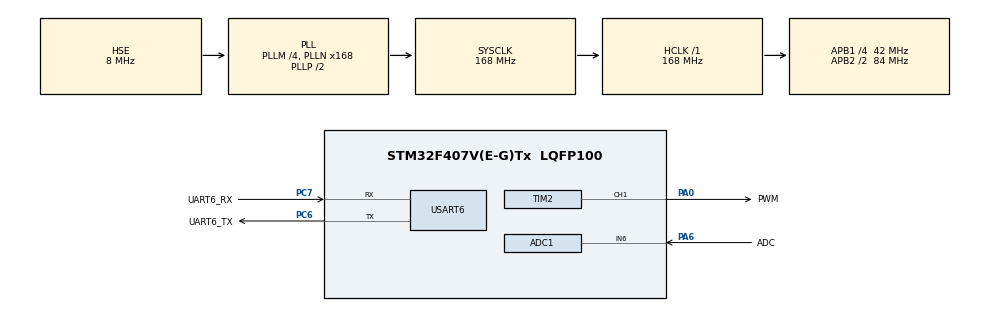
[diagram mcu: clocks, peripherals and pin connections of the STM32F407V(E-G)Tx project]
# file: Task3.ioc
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ADC1.Channel-0\#ChannelRegularConversion=ADC_CHANNEL_VREFINT
ADC1.NbrOfConversionFlag=1
ADC1.Rank-0\#ChannelRegularConversion=1
ADC1.SamplingTime-0\#ChannelRegularConversion=ADC_SAMPLETIME_3CYCLES
ADC1.master=1
Mcu.Family=STM32F4
Mcu.Name=STM32F407V(E-G)Tx
Mcu.Package=LQFP100
NVIC.ADC_IRQn=true\:2\:0\:true\:false\:true\:true\:true\:true
NVIC.PriorityGroup=NVIC_PRIORITYGROUP_2
NVIC.USART6_IRQn=true\:1\:1\:true\:false\:true\:true\:true\:true
PA0-WKUP.GPIO_Label=PWM
PA0-WKUP.GPIO_PuPd=GPIO_PULLDOWN
PA0-WKUP.GPIO_Speed=GPIO_SPEED_FREQ_HIGH
PA0-WKUP.Signal=S_TIM2_CH1_ETR
PA13.Mode=Serial_Wire
PA13.Signal=SYS_JTMS-SWDIO
PA14.Mode=Serial_Wire
PA14.Signal=SYS_JTCK-SWCLK
PA6.GPIO_Label=ADC
PA6.Signal=ADCx_IN6
PC14-OSC32_IN.Mode=LSE-External-Oscillator
PC14-OSC32_IN.Signal=RCC_OSC32_IN
PC15-OSC32_OUT.Mode=LSE-External-Oscillator
PC15-OSC32_OUT.Signal=RCC_OSC32_OUT
PC6.GPIO_Label=UART6_TX
PC6.GPIO_PuPd=GPIO_PULLUP
PC6.Mode=Asynchronous
PC6.Signal=USART6_TX
PC7.GPIO_Label=UART6_RX
PC7.GPIO_PuPd=GPIO_PULLUP
PC7.Mode=Asynchronous
PC7.Signal=USART6_RX
PH0-OSC_IN.Mode=HSE-External-Oscillator
PH0-OSC_IN.Signal=RCC_OSC_IN
PH1-OSC_OUT.Mode=HSE-External-Oscillator
PH1-OSC_OUT.Signal=RCC_OSC_OUT
ProjectManager.HeapSize=0x200
ProjectManager.StackSize=0x400
ProjectManager.TargetToolchain=MDK-ARM V5.32
RCC.48MHZClocksFreq_Value=84000000
RCC.AHBFreq_Value=168000000
RCC.APB1CLKDivider=RCC_HCLK_DIV4
RCC.APB1Freq_Value=42000000
RCC.APB1TimFreq_Value=84000000
RCC.APB2CLKDivider=RCC_HCLK_DIV2
RCC.APB2Freq_Value=84000000
RCC.APB2TimFreq_Value=168000000
RCC.CortexFreq_Value=168000000
RCC.EnbaleCSS=true
RCC.HCLKFreq_Value=168000000
RCC.HSE_VALUE=8000000
RCC.HSI_VALUE=16000000
RCC.PLLM=4
RCC.PLLN=168
RCC.PLLSourceVirtual=RCC_PLLSOURCE_HSE
RCC.SYSCLKFreq_VALUE=168000000
RCC.SYSCLKSource=RCC_SYSCLKSOURCE_PLLCLK
RCC.VCOOutputFreq_Value=336000000
SH.ADCx_IN6.0=ADC1_IN6,IN6
SH.S_TIM2_CH1_ETR.0=TIM2_CH1,PWM Generation1 CH1
TIM2.AutoReloadPreload=TIM_AUTORELOAD_PRELOAD_ENABLE
TIM2.Channel-PWM\ Generation1\ CH1=TIM_CHANNEL_1
TIM2.OCFastMode_PWM-PWM\ Generation1\ CH1=TIM_OCFAST_ENABLE
TIM2.OCPolarity_1=TIM_OCPOLARITY_HIGH
TIM2.Period=1000-1
TIM2.Prescaler=840-1
TIM2.Pulse-PWM\ Generation1\ CH1=500
TIM3.AutoReloadPreload=TIM_AUTORELOAD_PRELOAD_ENABLE
TIM3.Period=10000-1
TIM3.Prescaler=84-1
TIM3.TIM_MasterOutputTrigger=TIM_TRGO_UPDATE
TIM3.TIM_MasterSlaveMode=TIM_MASTERSLAVEMODE_ENABLE
USART6.VirtualMode=VM_ASYNC
VP_ADC1_Vref_Input.Mode=IN-Vrefint
VP_TIM2_VS_ClockSourceINT.Mode=Internal
VP_TIM3_VS_ClockSourceINT.Mode=Internal
board=custom

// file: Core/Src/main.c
/* USER CODE BEGIN Header */
/**
  ******************************************************************************
  * @file           : main.c
  * @brief          : Main program body
  ******************************************************************************
  * @attention
  *
  * Copyright (c) 2025 STMicroelectronics.
  * All rights reserved.
  *
  * This software is licensed under terms that can be found in the LICENSE file
  * in the root directory of this software component.
  * If no LICENSE file comes with this software, it is provided AS-IS.
  *
  ******************************************************************************
  */
/* USER CODE END Header */
#include "main.h"
#include "adc.h"
#include "tim.h"
#include "usart.h"
#include "gpio.h"

/* USER CODE BEGIN Includes */
#include "./delay/delay.h"
#include "./GUI_UART/GUI_UART.h"
#include "./PWM_Generate/PWM_Generate.h"
#include "./ADC1_Fire/ADC_Fire.h"
/* USER CODE END Includes */

/* USER CODE BEGIN PV */
extern uint8_t ADC_GetReady;
extern uint8_t Fire_State;   //0????????1??????

extern uint8_t adc_count;
extern uint8_t Resistance_Value;
extern uint8_t threshold_state;
extern uint8_t fire_threshold;
extern uint8_t Rx_buffer[9];
/* USER CODE END PV */

void SystemClock_Config(void);

int main(void)
{

  /* MCU Configuration--------------------------------------------------------*/

  /* Reset of all peripherals, Initializes the Flash interface and the Systick. */
  HAL_Init();

  /* Configure the system clock */
  SystemClock_Config();

  /* Initialize all configured peripherals */
  MX_GPIO_Init();
  MX_ADC1_Init();
  MX_TIM2_Init();
  MX_TIM3_Init();
  MX_USART6_UART_Init();
  /* USER CODE BEGIN 2 */
    Get_actual_voltage();
    Correct_PWM_Output(1);
    HAL_UART_Receive_IT(&huart6, Rx_buffer, 9);

    GUI_Correct_Fire_Threshold(fire_threshold);
    GUI_Correct_Fire_Sign(0);
    GUI_Correct_Resistance_Value(Resistance_Value);

    ADC_Fire_Start_init();
  /* USER CODE END 2 */

  /* Infinite loop */
  while (1)
  {

    /* USER CODE BEGIN 3 */
    if(threshold_state!=0)
    {
        if(threshold_state==1)
        {
            if(fire_threshold<10)
            {
                fire_threshold++;
                GUI_Correct_Fire_Threshold(fire_threshold);
            }
        }
        else if(threshold_state==2)
        {
            if(fire_threshold>1)
            {
                fire_threshold--;
                GUI_Correct_Fire_Threshold(fire_threshold);
            }
        }
        threshold_state=0;
    }

    if(ADC_GetReady==1)
    {
        ADC_GetReady=0;
        GUI_Correct_Resistance_Value(Resistance_Value);
    }

    if(adc_count==1)
    {
        adc_count=0;
        if(Fire_State==1)
        {
            GUI_Correct_Fire_Sign(1);
            GUI_Buzzer_10ms_per(0x0f);
        }
        else if(Fire_State==0)
        {
            GUI_Correct_Fire_Sign(0);
        }
    }
  }
  /* USER CODE END 3 */
}

void SystemClock_Config(void)
{
  RCC_OscInitTypeDef RCC_OscInitStruct = {0};
  RCC_ClkInitTypeDef RCC_ClkInitStruct = {0};

  /** Configure the main internal regulator output voltage
  */
  __HAL_RCC_PWR_CLK_ENABLE();
  __HAL_PWR_VOLTAGESCALING_CONFIG(PWR_REGULATOR_VOLTAGE_SCALE1);

  /** Initializes the RCC Oscillators according to the specified parameters
  * in the RCC_OscInitTypeDef structure.
  */
  RCC_OscInitStruct.OscillatorType = RCC_OSCILLATORTYPE_HSE;
  RCC_OscInitStruct.HSEState = RCC_HSE_ON;
  RCC_OscInitStruct.PLL.PLLState = RCC_PLL_ON;
  RCC_OscInitStruct.PLL.PLLSource = RCC_PLLSOURCE_HSE;
  RCC_OscInitStruct.PLL.PLLM = 4;
  RCC_OscInitStruct.PLL.PLLN = 168;
  RCC_OscInitStruct.PLL.PLLP = RCC_PLLP_DIV2;
  RCC_OscInitStruct.PLL.PLLQ = 4;
  if (HAL_RCC_OscConfig(&RCC_OscInitStruct) != HAL_OK)
  {
    Error_Handler();
  }

  /** Initializes the CPU, AHB and APB buses clocks
  */
  RCC_ClkInitStruct.ClockType = RCC_CLOCKTYPE_HCLK|RCC_CLOCKTYPE_SYSCLK
                              |RCC_CLOCKTYPE_PCLK1|RCC_CLOCKTYPE_PCLK2;
  RCC_ClkInitStruct.SYSCLKSource = RCC_SYSCLKSOURCE_PLLCLK;
  RCC_ClkInitStruct.AHBCLKDivider = RCC_SYSCLK_DIV1;
  RCC_ClkInitStruct.APB1CLKDivider = RCC_HCLK_DIV4;
  RCC_ClkInitStruct.APB2CLKDivider = RCC_HCLK_DIV2;

  if (HAL_RCC_ClockConfig(&RCC_ClkInitStruct, FLASH_LATENCY_5) != HAL_OK)
  {
    Error_Handler();
  }

  /** Enables the Clock Security System
  */
  HAL_RCC_EnableCSS();
}

void Error_Handler(void)
{
  __disable_irq();
  while (1)
  {
  }
}
